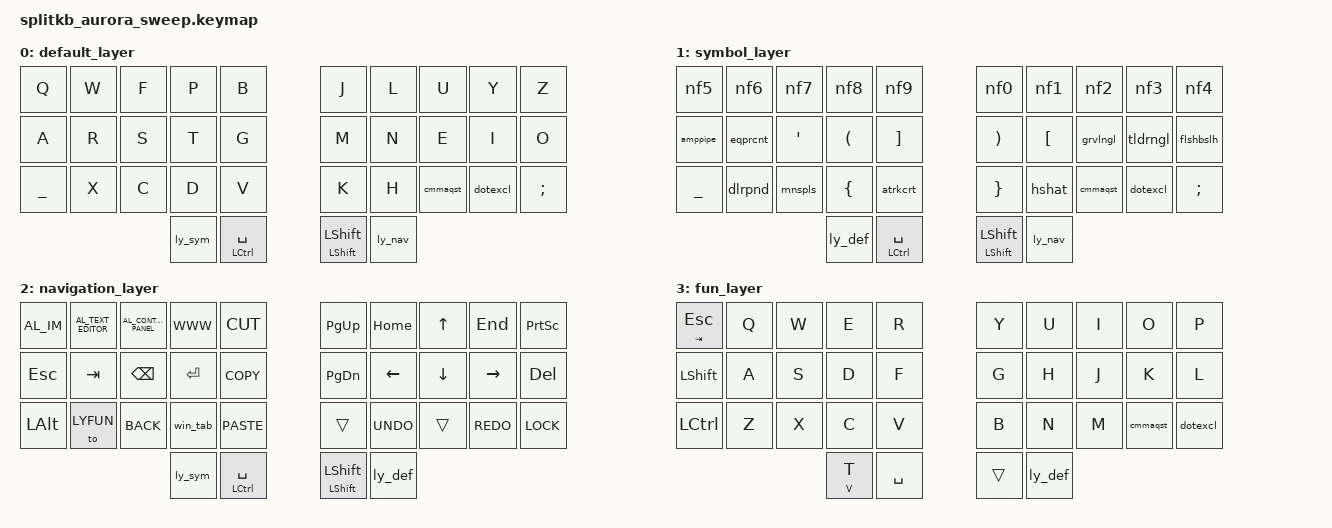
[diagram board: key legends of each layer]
/*
 * Copyright (c) 2022 The ZMK Contributors
 *
 * SPDX-License-Identifier: MIT
 */

#include <behaviors.dtsi>
#include <dt-bindings/zmk/bt.h>
#include <dt-bindings/zmk/keys.h>
#include <dt-bindings/zmk/rgb.h>

#define LYDEF 0
#define LYSYM 1
#define LYNAV 2
#define LYFUN 3

&mt {
    // flavor = "tap-preferred";
    // tapping_term_ms = <200>;
};

&led_strip {
    chain-length = <23>;
};

/ {
    macros {
        win_tab: win_tab {
            label = "win_tab";
            compatible = "zmk,behavior-macro";
            #binding-cells = <0>;
            bindings
                = <&macro_press &kp LWIN>
                , <&macro_tap &kp TAB>
                , <&macro_release &kp LWIN>
                ;
        };

        ly_def: ly_def {
            label = "ly_def";
            compatible = "zmk,behavior-macro";
            #binding-cells = <0>;
            bindings
                = <&to LYDEF>
                , <&rgb_ug RGB_COLOR_HSB(200,40,50)>
                ;
        };

        ly_sym: ly_sym {
            label = "ly_sym";
            compatible = "zmk,behavior-macro";
            #binding-cells = <0>;
            bindings
                = <&to LYSYM>
                , <&rgb_ug RGB_COLOR_HSB(50,100,50)>
                ;
        };

        ly_nav: ly_nav {
            label = "ly_nav";
            compatible = "zmk,behavior-macro";
            #binding-cells = <0>;
            bindings
                = <&to LYNAV>
                , <&rgb_ug RGB_COLOR_HSB(270,100,50)>
                ;
        };
    };

    behaviours {
        mo_sl: behaviour_mo_sl {
            compatible = "zmk,behavior-hold-tap";
            label = "mo_sl";
            #binding-cells = <2>;
            flavor = "balanced";
            tapping-term-ms = <200>;
            bindings = <&mo>, <&sl>;
        };

        mo_to: behaviour_mo_to {
            compatible = "zmk,behavior-hold-tap";
            label = "mo_to";
            #binding-cells = <2>;
            flavor = "tap-preferred";
            tapping-term-ms = <200>;
            bindings = <&mo>, <&to>;
        };

        kp_sk: behaviour_kp_sk {
            compatible = "zmk,behavior-hold-tap";
            label = "kp_sk";
            #binding-cells = <2>;
            flavor = "tap-preferred";
            tapping-term-ms = <200>;
            bindings = <&kp>, <&sk>;
        };

        dlrpnd: dollar_pound {
            compatible = "zmk,behavior-mod-morph";
            label = "DOLLAR_POUND";
            #binding-cells = <0>;
            bindings = <&kp DLLR>, <&kp POUND>;
            mods = <(MOD_LSFT|MOD_LCTL)>;
        };

        eqprcnt: equals_percent {
            compatible = "zmk,behavior-mod-morph";
            label = "EQUALS_PERCENT";
            #binding-cells = <0>;
            bindings = <&kp EQUAL>, <&kp PRCNT>;
            mods = <(MOD_LSFT|MOD_LCTL)>;
        };

        grvlngl: grave_left_angle {
            compatible = "zmk,behavior-mod-morph";
            label = "GRAVE_LEFT_ANGLE";
            #binding-cells = <0>;
            bindings = <&kp GRAVE>, <&kp LT>;
            mods = <(MOD_LSFT|MOD_LCTL)>;
        };

        tldrngl: tilde_right_angle {
            compatible = "zmk,behavior-mod-morph";
            label = "TILDE_RIGHT_ANGLE";
            #binding-cells = <0>;
            bindings = <&kp TILDE>, <&kp GT>;
            mods = <(MOD_LSFT|MOD_LCTL)>;
        };

        cmmaqst: comma_question_mark {
            compatible = "zmk,behavior-mod-morph";
            label = "COMMA_QUESTION_MARK";
            #binding-cells = <0>;
            bindings = <&kp COMMA>, <&kp QMARK>;
            mods = <(MOD_LSFT|MOD_LCTL)>;
        };

        dotexcl: dot_exclamation_mark {
            compatible = "zmk,behavior-mod-morph";
            label = "DOT_EXCLAMATION_MARK";
            #binding-cells = <0>;
            bindings = <&kp DOT>, <&kp EXCL>;
            mods = <(MOD_LSFT|MOD_LCTL)>;
        };

        hshat: hash_at {
            compatible = "zmk,behavior-mod-morph";
            label = "HASH_AT";
            #binding-cells = <0>;
            bindings = <&kp NUHS>, <&kp AT>;
            mods = <(MOD_LSFT|MOD_LCTL)>;
        };

        mnspls: minus_plus {
            compatible = "zmk,behavior-mod-morph";
            label = "MINUS_PLUS";
            #binding-cells = <0>;
            bindings = <&kp MINUS>, <&kp PLUS>;
            mods = <(MOD_LSFT|MOD_LCTL)>;
        };

        atrkcrt: asterisk_caret {
            compatible = "zmk,behavior-mod-morph";
            label = "ASTERISK_CARET";
            #binding-cells = <0>;
            bindings = <&kp ASTRK>, <&kp CARET>;
            mods = <(MOD_LSFT|MOD_LCTL)>;
        };

        flshbslh: forward_slash_back_slash {
            compatible = "zmk,behavior-mod-morph";
            label = "FORWARD_SLASH_BACK_SLASH";
            #binding-cells = <0>;
            bindings = <&kp FSLH>, <&kp BSLH>;
            mods = <(MOD_LSFT|MOD_LCTL)>;
        };

        amppipe: ampersand_pipe {
            compatible = "zmk,behavior-mod-morph";
            label = "AMPERSAND_PIPE";
            #binding-cells = <0>;
            bindings = <&kp AMPS>, <&kp PIPE>;
            mods = <(MOD_LSFT|MOD_LCTL)>;
        };

        nf0: nf0 {
            compatible = "zmk,behavior-mod-morph";
            label = "NF0";
            #binding-cells = <0>;
            bindings = <&kp NUM_0>, <&kp F10>;
            mods = <(MOD_LSFT|MOD_LCTL)>;
        };

        nf1: nf1 {
            compatible = "zmk,behavior-mod-morph";
            label = "NF1";
            #binding-cells = <0>;
            bindings = <&kp NUM_1>, <&kp F1>;
            mods = <(MOD_LSFT|MOD_LCTL)>;
        };

        nf2: nf2 {
            compatible = "zmk,behavior-mod-morph";
            label = "NF2";
            #binding-cells = <0>;
            bindings = <&kp NUM_2>, <&kp F2>;
            mods = <(MOD_LSFT|MOD_LCTL)>;
        };

        nf3: nf3 {
            compatible = "zmk,behavior-mod-morph";
            label = "NF3";
            #binding-cells = <0>;
            bindings = <&kp NUM_3>, <&kp F3>;
            mods = <(MOD_LSFT|MOD_LCTL)>;
        };

        nf4: nf4 {
            compatible = "zmk,behavior-mod-morph";
            label = "NF4";
            #binding-cells = <0>;
            bindings = <&kp NUM_4>, <&kp F4>;
            mods = <(MOD_LSFT|MOD_LCTL)>;
        };

        nf5: nf5 {
            compatible = "zmk,behavior-mod-morph";
            label = "NF5";
            #binding-cells = <0>;
            bindings = <&kp NUM_5>, <&kp F5>;
            mods = <(MOD_LSFT|MOD_LCTL)>;
        };
    
        nf6: nf6 {
            compatible = "zmk,behavior-mod-morph";
            label = "NF6";
            #binding-cells = <0>;
            bindings = <&kp NUM_6>, <&kp F6>;
            mods = <(MOD_LSFT|MOD_LCTL)>;
        };

        nf7: nf7 {
            compatible = "zmk,behavior-mod-morph";
            label = "NF7";
            #binding-cells = <0>;
            bindings = <&kp NUM_7>, <&kp F7>;
            mods = <(MOD_LSFT|MOD_LCTL)>;
        };

        nf8: nf8 {
            compatible = "zmk,behavior-mod-morph";
            label = "NF8";
            #binding-cells = <0>;
            bindings = <&kp NUM_8>, <&kp F8>;
            mods = <(MOD_LSFT|MOD_LCTL)>;
        };

        nf9: nf9 {
            compatible = "zmk,behavior-mod-morph";
            label = "NF9";
            #binding-cells = <0>;
            bindings = <&kp NUM_9>, <&kp F9>;
            mods = <(MOD_LSFT|MOD_LCTL)>;
        };

        kp_kp: kp_kp {
            compatible = "zmk,behavior-hold-tap";
            label = "kp_kp";
            #binding-cells = <2>;
            flavor = "hold-preferred";
            tapping-term-ms = <200>;
            bindings = <&kp>, <&kp>;
        };
    };

    combos {
        compatible = "zmk,combos";

//        combo_tab {
//            timeout-ms = <16>;
//            key-positions = <2 3>;
//            bindings = <&kp TAB>;
//        };

        combo_tab {
            timeout-ms = <16>;
            key-positions = <12 13>;
            bindings = <&kp TAB>;
        };

        combo_backspace {
            timeout-ms = <16>;
            key-positions = <16 17>;
            bindings = <&kp BKSP>;
        };

        combo_return {
            timeout-ms = <16>;
            key-positions = <17 18>;
            bindings = <&kp RET>;
        };
    };

    keymap {
        compatible = "zmk,keymap";

// LYDEF
// [   Q   ] [   W   ] [   F   ] [   P   esc   B   ]    [   J   bsp   L   ] [   U   ] [   Y   ] [   Z   ]
// [   A   ] [   R   ] [   S   ] [   T   tab   G   ]    [   M   ret   N   ] [   E   ] [   I   ] [   O   ]
// [   _   ] [   X   ] [   C   ] [   D   ] [   V   ]    [   K   ] [   H   ] [  , ?  ] [  . !  ] [  ; :  ]
//                               [ LYSYM ] [ space ]    [ shift ] [ LYNAV ]
//                                            ctrl        shift

        default_layer {
            bindings = <
            &kp Q      &kp W  &kp F  &kp P    &kp B            &kp J                 &kp L    &kp U     &kp Y     &kp Z
            &kp A      &kp R  &kp S  &kp T    &kp G            &kp M                 &kp N    &kp E     &kp I     &kp O
            &kp UNDER  &kp X  &kp C  &kp D    &kp V            &kp K                 &kp H    &cmmaqst  &dotexcl  &kp SCLN
                                     &ly_sym  &mt LCTRL SPC    &kp_sk LSHIFT LSHIFT  &ly_nav
            >;
        };

// LYSYM
// [   5   ] [   6   ] [   7   ] [   8   ] [   9   ]    [   0   ] [   1   ] [   2   ] [   3   ] [   4   ]
// [  & |  ] [  = %  ] [  ' "  ] [   (   ] [   ]   ]    [   )   ] [   [   ] [  ` <  ] [  ~ >  ] [  / \  ]
// [   _   ] [  $ £  ] [  - +  ] [   {   ] [  * ^  ]    [   }   ] [  # @  ] [  , ?  ] [  . !  ] [  ; :  ]
//                               [ LYDEF ] [ space ]    [ shift ] [ LYNAV ]
//                                            ctrl        shift

        symbol_layer {
            bindings = <
            &nf5       &nf6      &nf7      &nf8      &nf9             &nf0                  &nf1                &nf2      &nf3      &nf4
            &amppipe   &eqprcnt  &kp APOS  &kp LPAR  &kp RBKT         &kp RPAR              &kp LBKT            &grvlngl  &tldrngl  &flshbslh
            &kp UNDER  &dlrpnd   &mnspls   &kp LBRC  &atrkcrt         &kp RBRC              &hshat              &cmmaqst  &dotexcl  &kp SCLN
                                           &ly_def   &mt LCTRL SPC    &kp_sk LSHIFT LSHIFT  &ly_nav
            >;
        };

// copy+paste+cut no work
// back no work
// undo no work?

// TODO:
// * Alt+tab
// * notes, music, task manager
// * forward
// * play/pause, volume-up/down, record
// * K_SCROLL_UP K_SCROLL_DOWN
// * K_NEXT, K_PREV, K_SELECT
// LYNAV
// [  msg  ] [  code ] [ trmnl ] [ brwsr ] [  cut  ]    [  pgup ] [  home ] [   up  ] [  end  ] [ prscn ]
// [  esc  ] [  tab  ] [ bkspc ] [ enter ] [  copy ]    [ pgdwn ] [  left ] [  down ] [ right ] [  del  ]
// [  alt  ] [ LYFUN ] [  bck  ] [ wn+tb ] [ paste ]    [       ] [  undo ] [       ] [  redo ] [  lck  ]
//                               [ LYSYM ] [ space ]    [ shift ] [ LYDEF ]
//                                            ctrl        shift

        navigation_layer {
            bindings = <
            &kp C_AL_IM  &kp C_AL_TEXT_EDITOR  &kp C_AL_CONTROL_PANEL  &kp K_WWW  &kp K_CUT        &kp PG_UP             &kp HOME    &kp UP     &kp END     &kp PSCRN
            &kp ESC      &kp TAB               &kp BKSP                &kp ENTER  &kp K_COPY       &kp PG_DN             &kp LEFT    &kp DOWN   &kp RIGHT   &kp DEL
            &kp LALT     &to LYFUN             &kp K_BACK              &win_tab   &kp K_PASTE      &trans                &kp K_UNDO  &trans     &kp K_REDO  &kp K_LOCK
                                                                       &ly_sym    &mt LCTRL SPC    &kp_sk LSHIFT LSHIFT  &ly_def
            >;
        };

// LYFUN
// TODO: M (map)
// [ esctb ] [   Q   ] [   W   ] [   E   ] [   R   ]    [   Y   ] [   U   ] [   I   ] [   O   ] [   P   ]
// [ shift ] [   A   ] [   S   ] [   D   ] [   F   ]    [   G   ] [   H   ] [   J   ] [   K   ] [   L   ]
// [  ctrl ] [   Z   ] [   X   ] [   C   ] [   V   ]    [   B   ] [   N   ] [   M   ] [  , ?  ] [  . !  ]
//                               [   T   ] [ space ]    [       ] [ LYDEF ]
//                                   V       space
        fun_layer {
            bindings = <
            &kp_kp TAB ESC  &kp Q   &kp W   &kp E       &kp R      &kp Y   &kp U    &kp I  &kp O     &kp P
            &kp LSHIFT      &kp A   &kp S   &kp D       &kp F      &kp G   &kp H    &kp J  &kp K     &kp L
            &kp LCTRL       &kp Z   &kp X   &kp C       &kp V      &kp B   &kp N    &kp M  &cmmaqst  &dotexcl
                                            &kp_kp V T  &kp SPC    &trans  &ly_def
            >;
        };
    };
};
